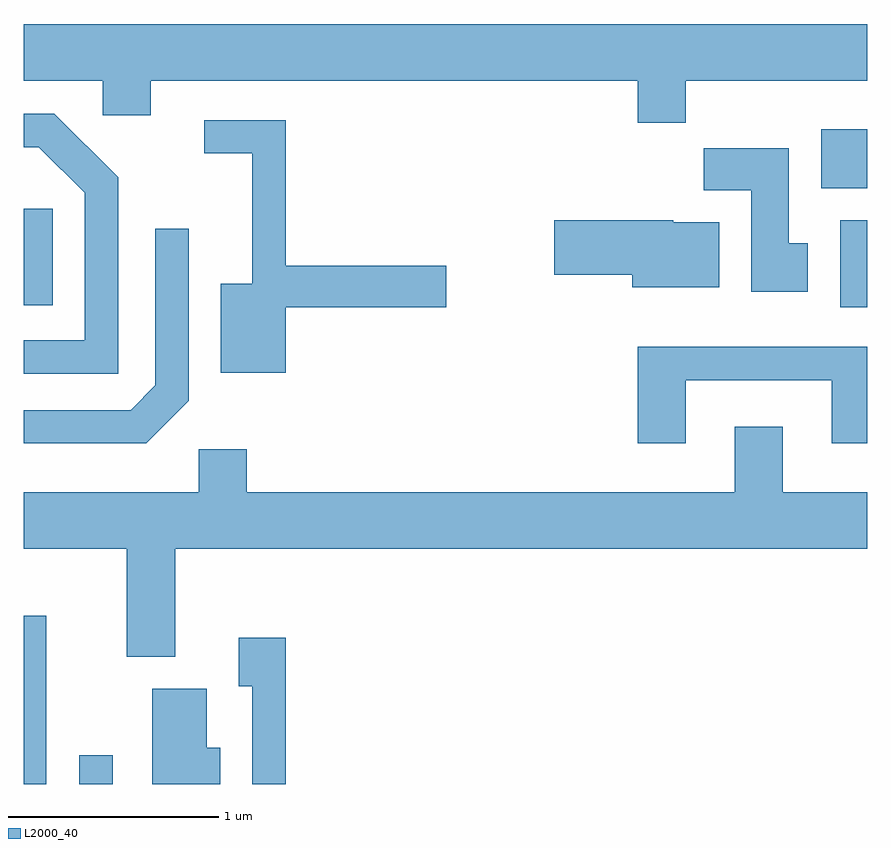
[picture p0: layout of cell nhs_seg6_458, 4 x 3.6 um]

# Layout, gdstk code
import gdstk
lib = gdstk.Library(unit=1e-6, precision=1e-09)
def R(c, l, rs):  # rectangles x0, y0, x1, y1
    for r in rs: c.add(gdstk.rectangle(r[:2], r[2:], *l))
def P(c, l, *ps):  # polygons
    for p in ps: c.add(gdstk.Polygon(p, *l))
L2000_40 = (2000, 40)

nhs_seg6_458 = lib.new_cell('nhs_seg6_458')
R(nhs_seg6_458, L2000_40, [(197.611,1642.162,197.719,1642.959), (197.876,1642.162,198.034,1642.298), (201.481,1644.421,201.611,1644.834), (197.611,1644.431,197.749,1644.889), (201.391,1644.986,201.611,1645.264)])
P(nhs_seg6_458, L2000_40, [(200.749,1645.496),(201.611,1645.496),(201.611,1645.764),(197.611,1645.764),(197.611,1645.496),(197.986,1645.496),(197.986,1645.331),(198.214,1645.331),(198.214,1645.496),(200.521,1645.496),(200.521,1645.296),(200.749,1645.296)],
  [(198.059,1645.037),(197.757,1645.339),(197.611,1645.339),(197.611,1645.181),(197.684,1645.181),(197.901,1644.964),(197.901,1644.264),(197.611,1644.264),(197.611,1644.106),(198.059,1644.106)],
  [(198.854,1644.421),(199.614,1644.421),(199.614,1644.619),(198.854,1644.619),(198.854,1645.309),(198.468,1645.309),(198.468,1645.151),(198.696,1645.151),(198.696,1644.534),(198.546,1644.534),(198.546,1644.111),(198.854,1644.111)],
  [(201.329,1644.724),(201.239,1644.724),(201.239,1645.174),(200.836,1645.174),(200.836,1644.976),(201.061,1644.976),(201.061,1644.496),(201.329,1644.496)],
  [(200.909,1644.824),(200.69,1644.824),(200.69,1644.834),(200.126,1644.834),(200.126,1644.576),(200.496,1644.576),(200.496,1644.516),(200.909,1644.516)],
  [(198.394,1643.979),(198.394,1644.793),(198.236,1644.793),(198.236,1644.052),(198.119,1643.934),(197.611,1643.934),(197.611,1643.776),(198.192,1643.776)],
  [(200.749,1644.076),(201.441,1644.076),(201.441,1643.776),(201.611,1643.776),(201.611,1644.234),(200.521,1644.234),(200.521,1643.776),(200.749,1643.776)],
  [(198.329,1643.276),(201.611,1643.276),(201.611,1643.544),(201.209,1643.544),(201.209,1643.854),(200.981,1643.854),(200.981,1643.544),(198.669,1643.544),(198.669,1643.749),(198.441,1643.749),(198.441,1643.544),(197.611,1643.544),(197.611,1643.276),(198.101,1643.276),(198.101,1642.766),(198.329,1642.766)],
  [(198.854,1642.854),(198.631,1642.854),(198.631,1642.626),(198.696,1642.626),(198.696,1642.162),(198.854,1642.162)],
  [(198.544,1642.334),(198.479,1642.334),(198.479,1642.614),(198.221,1642.614),(198.221,1642.162),(198.544,1642.162)])

lib.write_gds('nhs_seg6_458.gds')
